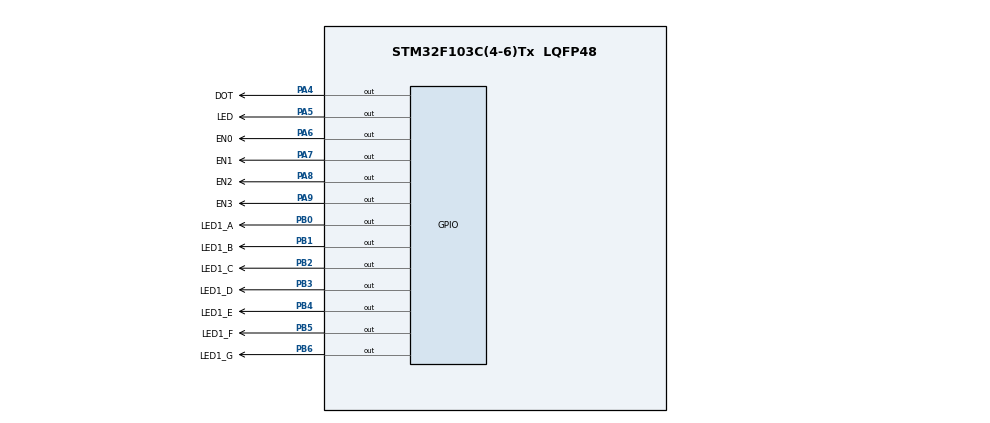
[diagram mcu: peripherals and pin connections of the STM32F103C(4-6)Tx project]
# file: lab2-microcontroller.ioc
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Mcu.Family=STM32F1
Mcu.Name=STM32F103C(4-6)Tx
Mcu.Package=LQFP48
NVIC.PriorityGroup=NVIC_PRIORITYGROUP_4
PA4.GPIO_Label=DOT
PA4.Signal=GPIO_Output
PA5.GPIO_Label=LED
PA5.Signal=GPIO_Output
PA6.GPIO_Label=EN0
PA6.Signal=GPIO_Output
PA7.GPIO_Label=EN1
PA7.Signal=GPIO_Output
PA8.GPIO_Label=EN2
PA8.Signal=GPIO_Output
PA9.GPIO_Label=EN3
PA9.Signal=GPIO_Output
PB0.GPIO_Label=LED1_A
PB0.Signal=GPIO_Output
PB1.GPIO_Label=LED1_B
PB1.Signal=GPIO_Output
PB2.GPIO_Label=LED1_C
PB2.Signal=GPIO_Output
PB3.GPIO_Label=LED1_D
PB3.Signal=GPIO_Output
PB4.GPIO_Label=LED1_E
PB4.Signal=GPIO_Output
PB5.GPIO_Label=LED1_F
PB5.Signal=GPIO_Output
PB6.GPIO_Label=LED1_G
PB6.Signal=GPIO_Output
ProjectManager.HeapSize=0x200
ProjectManager.StackSize=0x400
ProjectManager.TargetToolchain=STM32CubeIDE
RCC.APB1Freq_Value=8000000
RCC.APB2Freq_Value=8000000
VP_SYS_VS_ND.Mode=No_Debug
board=custom

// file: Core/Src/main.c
/* USER CODE BEGIN Header */
/**
  ******************************************************************************
  * @file           : main.c
  * @brief          : Main program body
  ******************************************************************************
  * @attention
  *
  * <h2><center>&copy; Copyright (c) 2021 STMicroelectronics.
  * All rights reserved.</center></h2>
  *
  * This software component is licensed by ST under BSD 3-Clause license,
  * the "License"; You may not use this file except in compliance with the
  * License. You may obtain a copy of the License at:
  *                        opensource.org/licenses/BSD-3-Clause
  *
  ******************************************************************************
  */
/* USER CODE END Header */
#include "main.h"

void SystemClock_Config(void);
static void MX_GPIO_Init(void);

/* USER CODE BEGIN 0 */

void updateClockBuffer(int, int);
/* USER CODE END 0 */

int main(void)
{

  /* MCU Configuration--------------------------------------------------------*/

  /* Reset of all peripherals, Initializes the Flash interface and the Systick. */
  HAL_Init();

  /* Configure the system clock */
  SystemClock_Config();

  /* Initialize all configured peripherals */
  MX_GPIO_Init();
  /* USER CODE BEGIN 2 */
  HAL_GPIO_WritePin(EN0_GPIO_Port, EN0_Pin, 1);
  HAL_GPIO_WritePin(EN1_GPIO_Port, EN1_Pin, 1);
  HAL_GPIO_WritePin(EN2_GPIO_Port, EN2_Pin, 1);
  HAL_GPIO_WritePin(EN3_GPIO_Port, EN3_Pin, 1);
  int hour = 15, minute = 8 , second = 50;

  /* USER CODE END 2 */

  /* Infinite loop */
  /* USER CODE BEGIN WHILE */
  while (1)
  {
	  second ++;
	  if ( second >= 60) {
		  second = 0;
		  minute++;
	  }
	  if( minute >= 60) {
		  minute = 0;
		  hour++;
	  }
	  if( hour >=24) {
		  hour = 0;
	  }
	  updateClockBuffer(hour, minute);
	  //HAL_Delay(1000);

    /* USER CODE END WHILE */

  }
}

void SystemClock_Config(void)
{
  RCC_OscInitTypeDef RCC_OscInitStruct = {0};
  RCC_ClkInitTypeDef RCC_ClkInitStruct = {0};

  /** Initializes the RCC Oscillators according to the specified parameters
  * in the RCC_OscInitTypeDef structure.
  */
  RCC_OscInitStruct.OscillatorType = RCC_OSCILLATORTYPE_HSI;
  RCC_OscInitStruct.HSIState = RCC_HSI_ON;
  RCC_OscInitStruct.HSICalibrationValue = RCC_HSICALIBRATION_DEFAULT;
  RCC_OscInitStruct.PLL.PLLState = RCC_PLL_NONE;
  if (HAL_RCC_OscConfig(&RCC_OscInitStruct) != HAL_OK)
  {
    Error_Handler();
  }
  /** Initializes the CPU, AHB and APB buses clocks
  */
  RCC_ClkInitStruct.ClockType = RCC_CLOCKTYPE_HCLK|RCC_CLOCKTYPE_SYSCLK
                              |RCC_CLOCKTYPE_PCLK1|RCC_CLOCKTYPE_PCLK2;
  RCC_ClkInitStruct.SYSCLKSource = RCC_SYSCLKSOURCE_HSI;
  RCC_ClkInitStruct.AHBCLKDivider = RCC_SYSCLK_DIV1;
  RCC_ClkInitStruct.APB1CLKDivider = RCC_HCLK_DIV1;
  RCC_ClkInitStruct.APB2CLKDivider = RCC_HCLK_DIV1;

  if (HAL_RCC_ClockConfig(&RCC_ClkInitStruct, FLASH_LATENCY_0) != HAL_OK)
  {
    Error_Handler();
  }
}

static void MX_GPIO_Init(void)
{
  GPIO_InitTypeDef GPIO_InitStruct = {0};

  /* GPIO Ports Clock Enable */
  __HAL_RCC_GPIOA_CLK_ENABLE();
  __HAL_RCC_GPIOB_CLK_ENABLE();

  /*Configure GPIO pin Output Level */
  HAL_GPIO_WritePin(GPIOA, DOT_Pin|LED_Pin|EN0_Pin|EN1_Pin
                          |EN2_Pin|EN3_Pin, GPIO_PIN_RESET);

  /*Configure GPIO pin Output Level */
  HAL_GPIO_WritePin(GPIOB, LED1_A_Pin|LED1_B_Pin|LED1_C_Pin|LED1_D_Pin
                          |LED1_E_Pin|LED1_F_Pin|LED1_G_Pin, GPIO_PIN_RESET);

  /*Configure GPIO pins : DOT_Pin LED_Pin EN0_Pin EN1_Pin
                           EN2_Pin EN3_Pin */
  GPIO_InitStruct.Pin = DOT_Pin|LED_Pin|EN0_Pin|EN1_Pin
                          |EN2_Pin|EN3_Pin;
  GPIO_InitStruct.Mode = GPIO_MODE_OUTPUT_PP;
  GPIO_InitStruct.Pull = GPIO_NOPULL;
  GPIO_InitStruct.Speed = GPIO_SPEED_FREQ_LOW;
  HAL_GPIO_Init(GPIOA, &GPIO_InitStruct);

  /*Configure GPIO pins : LED1_A_Pin LED1_B_Pin LED1_C_Pin LED1_D_Pin
                           LED1_E_Pin LED1_F_Pin LED1_G_Pin */
  GPIO_InitStruct.Pin = LED1_A_Pin|LED1_B_Pin|LED1_C_Pin|LED1_D_Pin
                          |LED1_E_Pin|LED1_F_Pin|LED1_G_Pin;
  GPIO_InitStruct.Mode = GPIO_MODE_OUTPUT_PP;
  GPIO_InitStruct.Pull = GPIO_NOPULL;
  GPIO_InitStruct.Speed = GPIO_SPEED_FREQ_LOW;
  HAL_GPIO_Init(GPIOB, &GPIO_InitStruct);

}

void Error_Handler(void)
{
  __disable_irq();
  while (1)
  {
  }
}

/************************ (C) COPYRIGHT STMicroelectronics *****END OF FILE****/
